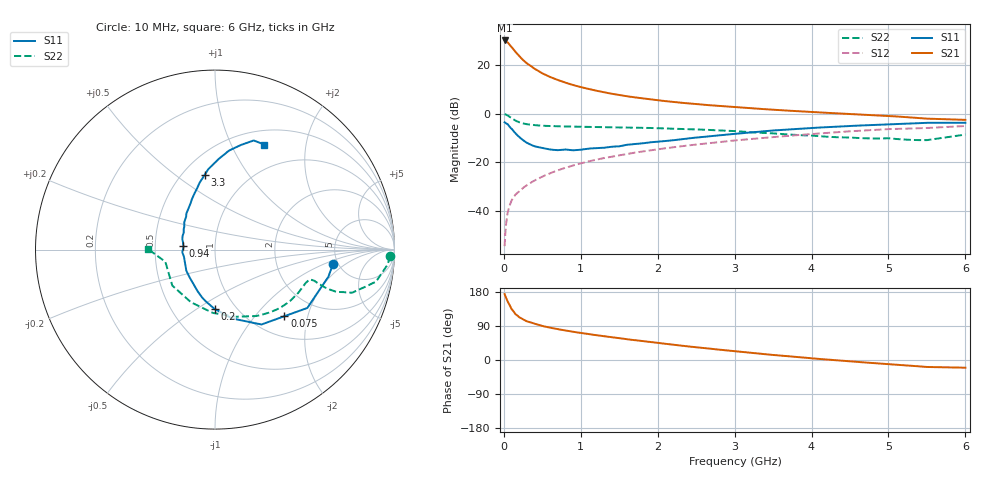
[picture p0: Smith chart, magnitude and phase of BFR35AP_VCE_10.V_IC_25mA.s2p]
! Infineon Technologies  Discrete & RF Semiconductors
! BFR35AP
! VCE =  10. V,  IC =  25 mA
! Common Emitter S-Parameters:  Nov 2015
# GHz  S  MA  R  50
!  f  S11  S21  S12  S22
! GHz  MAG  ANG  MAG  ANG  MAG  ANG  MAG  ANG
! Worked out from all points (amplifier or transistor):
!   210 points, 10 MHz to 6 GHz, reference 50 ohm
!   highest |S21| = 30.0 dB at 10 MHz (marker M1)
!   |S21| within 3 dB of that: start of sweep to 108.8 MHz
!   unconditionally stable (mu >= 1): 402.9 MHz to 2.591 GHz
!   at 185 MHz: K = 0.74, MSG = 28.2 dB, |S12| = -32.3 dB
!   at 1.52 GHz: K = 1.09, MAG = 10.4 dB, |S12| = -17.0 dB
!   at 6 GHz: K = 0.90, MSG = 1.3 dB, |S12| = -5.1 dB
!   S11 on the Smith chart (normalised r, x): 10 MHz: 4.54, -1.29; 75 MHz: 1.39, -1.44; 200 MHz: 0.80, -0.59; 940 MHz: 0.70, +0.03; 3.3 GHz: 0.64, +0.65; 6 GHz: 0.67, +1.35
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0.01  0.6621 -6.9  31.6 173.9  0.0019 90.7  0.9771 -2.1
0.02  0.6498 -13.4  31.08 168.5  0.0036 81.0  0.9651 -5.0
0.05  0.6085 -32.3  28.86 153.7  0.0093 76.8  0.9143 -11.3
0.075  0.5359 -43.8  25.72 145.1  0.0128 71.6  0.8569 -14.2
0.1  0.491 -58.2  23.3 134.5  0.0164 68.6  0.802 -17.4
0.15  0.3954 -76.0  18.48 121.2  0.0216 65.7  0.7162 -19.2
0.2  0.3307 -90.4  15.05 112.9  0.0253 66.3  0.6632 -19.2
0.26  0.2769 -104.9  12.13 105.7  0.0306 66.8  0.6225 -18.5
0.3  0.2509 -112.8  10.7 102.0  0.034 68.4  0.6042 -18.1
0.4  0.2132 -130.3  8.278 95.5  0.0423 70.0  0.5776 -17.4
0.5  0.1983 -143.7  6.683 89.7  0.0507 70.9  0.5619 -17.4
0.6  0.1833 -155.7  5.639 85.3  0.0594 71.1  0.5538 -17.6
0.8  0.183 -175.4  4.293 77.7  0.0771 71.4  0.5432 -19.2
0.94  0.1778 173.2  3.698 73.2  0.0897 71.0  0.5375 -20.5
1.02  0.183 167.0  3.429 70.8  0.0967 70.7  0.535 -21.5
1.4  0.2092 146.7  2.552 60.2  0.1299 68.5  0.5243 -26.7
2.02  0.2662 125.0  1.857 44.7  0.1864 63.5  0.4996 -36.9
3.1  0.3954 101.1  1.321 21.3  0.2896 52.8  0.4257 -60.6
3.3  0.4217 97.7  1.256 17.5  0.3088 50.4  0.4066 -66.3
4.1  0.516 86.4  1.056 2.8  0.3898 41.0  0.3429 -96.1
5.1  0.6082 75.0  0.873 -12.6  0.4835 26.4  0.3009 -144.7
6  0.6471 64.8  0.742 -20.3  0.5551 15.0  0.3707 179.8
